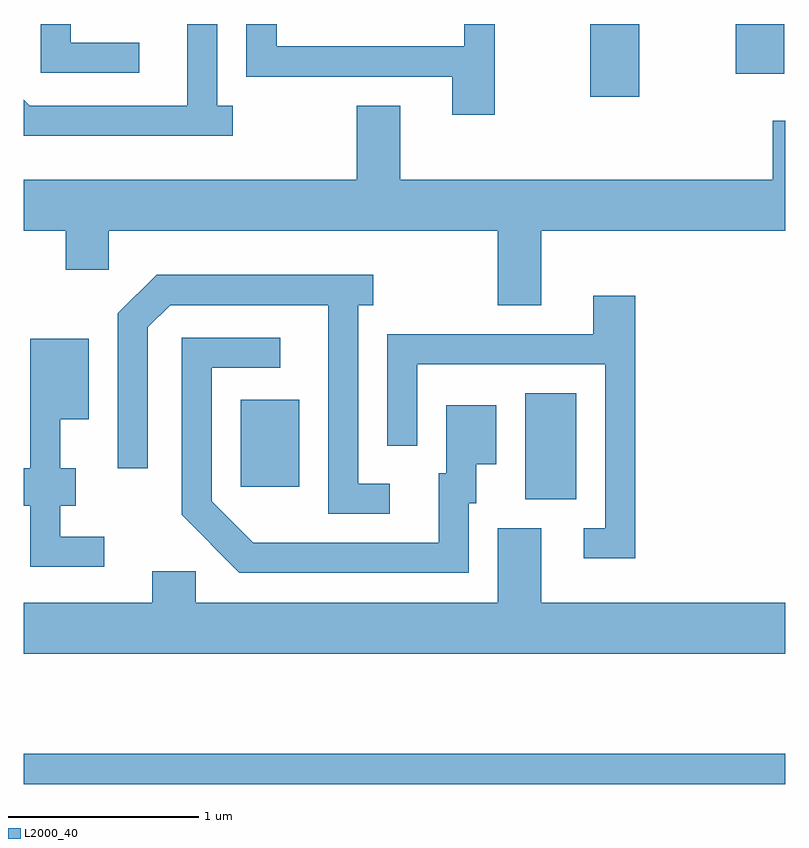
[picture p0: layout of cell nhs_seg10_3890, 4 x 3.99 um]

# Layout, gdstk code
import gdstk
lib = gdstk.Library(unit=1e-6, precision=1e-09)
def R(c, l, rs):  # rectangles x0, y0, x1, y1
    for r in rs: c.add(gdstk.rectangle(r[:2], r[2:], *l))
def P(c, l, *ps):  # polygons
    for p in ps: c.add(gdstk.Polygon(p, *l))
L2000_40 = (2000, 40)

nhs_seg10_3890 = lib.new_cell('nhs_seg10_3890')
R(nhs_seg10_3890, L2000_40, [(299.611,2146.531,303.611,2146.689), (302.246,2148.026,302.514,2148.584), (300.751,2148.091,301.059,2148.549), (302.586,2150.141,302.844,2150.522), (303.351,2150.261,303.604,2150.522)])
P(nhs_seg10_3890, L2000_40, [(302.084,2150.522),(301.926,2150.522),(301.926,2150.404),(300.939,2150.404),(300.939,2150.522),(300.781,2150.522),(300.781,2150.246),(301.861,2150.246),(301.861,2150.046),(302.084,2150.046)],
  [(300.218,2150.424),(299.859,2150.424),(299.859,2150.522),(299.701,2150.522),(299.701,2150.266),(300.218,2150.266)],
  [(300.708,2150.094),(300.629,2150.094),(300.629,2150.522),(300.471,2150.522),(300.471,2150.094),(299.642,2150.094),(299.611,2150.125),(299.611,2149.936),(300.708,2149.936)],
  [(302.329,2149.436),(303.611,2149.436),(303.611,2150.014),(303.546,2150.014),(303.546,2149.704),(301.589,2149.704),(301.589,2150.094),(301.361,2150.094),(301.361,2149.704),(299.611,2149.704),(299.611,2149.436),(299.831,2149.436),(299.831,2149.231),(300.059,2149.231),(300.059,2149.436),(302.101,2149.436),(302.101,2149.046),(302.329,2149.046)],
  [(301.533,2148.109),(301.369,2148.109),(301.369,2149.046),(301.448,2149.046),(301.448,2149.204),(300.309,2149.204),(300.106,2149.002),(300.106,2148.188),(300.264,2148.188),(300.264,2148.929),(300.382,2149.046),(301.211,2149.046),(301.211,2147.951),(301.533,2147.951)],
  [(302.824,2149.094),(302.601,2149.094),(302.601,2148.894),(301.521,2148.894),(301.521,2148.308),(301.679,2148.308),(301.679,2148.736),(302.666,2148.736),(302.666,2147.874),(302.553,2147.874),(302.553,2147.716),(302.824,2147.716)],
  [(301.949,2148.006),(301.989,2148.006),(301.989,2148.211),(302.094,2148.211),(302.094,2148.519),(301.831,2148.519),(301.831,2148.164),(301.791,2148.164),(301.791,2147.799),(300.817,2147.799),(300.599,2148.017),(300.599,2148.716),(300.958,2148.716),(300.958,2148.874),(300.441,2148.874),(300.441,2147.944),(300.744,2147.641),(301.949,2147.641)],
  [(300.033,2147.829),(299.804,2147.829),(299.804,2147.991),(299.884,2147.991),(299.884,2148.189),(299.804,2148.189),(299.804,2148.446),(299.954,2148.446),(299.954,2148.869),(299.646,2148.869),(299.646,2148.189),(299.611,2148.189),(299.611,2147.991),(299.646,2147.991),(299.646,2147.671),(300.033,2147.671)],
  [(303.611,2147.484),(302.329,2147.484),(302.329,2147.874),(302.101,2147.874),(302.101,2147.484),(300.514,2147.484),(300.514,2147.649),(300.286,2147.649),(300.286,2147.484),(299.611,2147.484),(299.611,2147.216),(303.611,2147.216)])

lib.write_gds('nhs_seg10_3890.gds')
